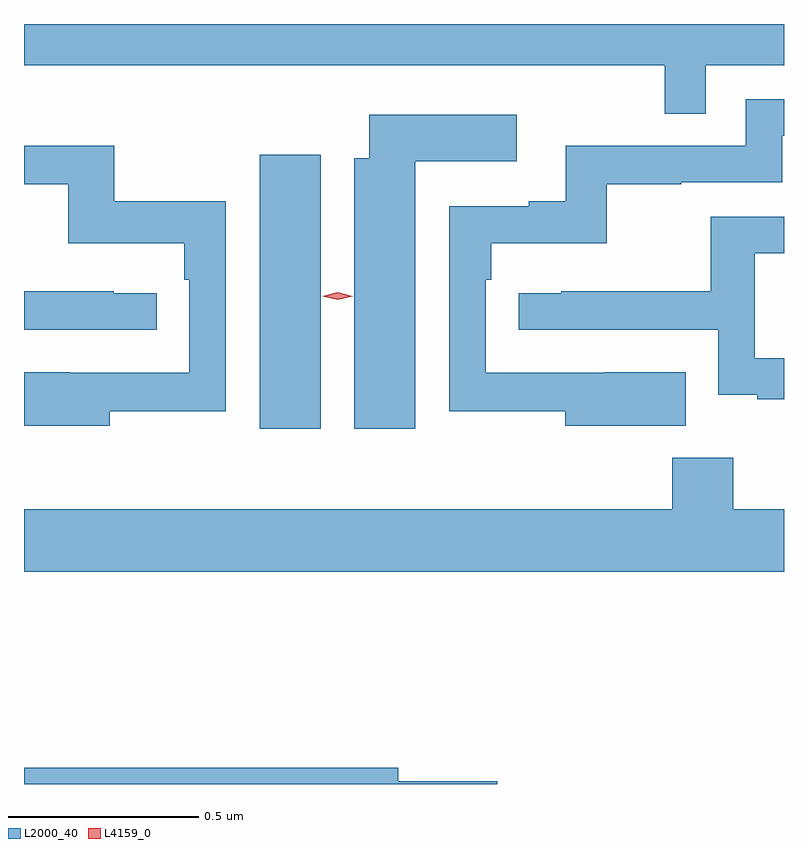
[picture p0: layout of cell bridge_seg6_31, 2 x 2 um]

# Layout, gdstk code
import gdstk
lib = gdstk.Library(unit=1e-6, precision=1e-09)
def R(c, l, rs):  # rectangles x0, y0, x1, y1
    for r in rs: c.add(gdstk.rectangle(r[:2], r[2:], *l))
def P(c, l, *ps):  # polygons
    for p in ps: c.add(gdstk.Polygon(p, *l))
L2000_40 = (2000, 40)
L4159_0 = (4159, 0)

bridge_seg6_31 = lib.new_cell('bridge_seg6_31')
R(bridge_seg6_31, L2000_40, [(1073.309,923.736,1073.47,924.457)])
P(bridge_seg6_31, L2000_40, [(1074.483,924.692),(1074.689,924.692),(1074.689,924.801),(1072.689,924.801),(1072.689,924.692),(1074.375,924.692),(1074.375,924.565),(1074.483,924.565)],
  [(1074.431,923.884),(1074.217,923.884),(1074.217,923.883),(1073.904,923.883),(1073.904,924.128),(1073.918,924.128),(1073.918,924.224),(1074.223,924.224),(1074.223,924.379),(1074.419,924.379),(1074.419,924.384),(1074.684,924.384),(1074.684,924.507),(1074.689,924.507),(1074.689,924.603),(1074.588,924.603),(1074.588,924.48),(1074.114,924.48),(1074.114,924.334),(1074.017,924.334),(1074.017,924.321),(1073.808,924.321),(1073.808,923.782),(1074.113,923.782),(1074.113,923.744),(1074.431,923.744)],
  [(1073.719,924.44),(1073.986,924.44),(1073.986,924.562),(1073.597,924.562),(1073.597,924.448),(1073.558,924.448),(1073.558,923.736),(1073.719,923.736)],
  [(1072.915,923.782),(1073.22,923.782),(1073.22,924.334),(1072.927,924.334),(1072.927,924.48),(1072.689,924.48),(1072.689,924.379),(1072.806,924.379),(1072.806,924.224),(1073.111,924.224),(1073.111,924.128),(1073.124,924.128),(1073.124,923.883),(1072.811,923.883),(1072.811,923.884),(1072.689,923.884),(1072.689,923.744),(1072.915,923.744)],
  [(1074.689,923.922),(1074.612,923.922),(1074.612,924.198),(1074.689,924.198),(1074.689,924.294),(1074.496,924.294),(1074.496,924.098),(1074.103,924.098),(1074.103,924.093),(1073.991,924.093),(1073.991,923.997),(1074.516,923.997),(1074.516,923.825),(1074.619,923.825),(1074.619,923.814),(1074.689,923.814)],
  [(1073.038,924.093),(1072.925,924.093),(1072.925,924.098),(1072.689,924.098),(1072.689,923.997),(1073.038,923.997)],
  [(1074.689,923.524),(1074.555,923.524),(1074.555,923.659),(1074.395,923.659),(1074.395,923.524),(1072.689,923.524),(1072.689,923.36),(1074.689,923.36)],
  [(1073.935,922.808),(1073.674,922.808),(1073.674,922.844),(1072.689,922.844),(1072.689,922.801),(1073.935,922.801)])
P(bridge_seg6_31, L4159_0, [(1073.514,924.075),(1073.474,924.085),(1073.474,924.085),(1073.474,924.085),(1073.514,924.095),(1073.554,924.085),(1073.554,924.085),(1073.554,924.085)])

lib.write_gds('bridge_seg6_31.gds')
